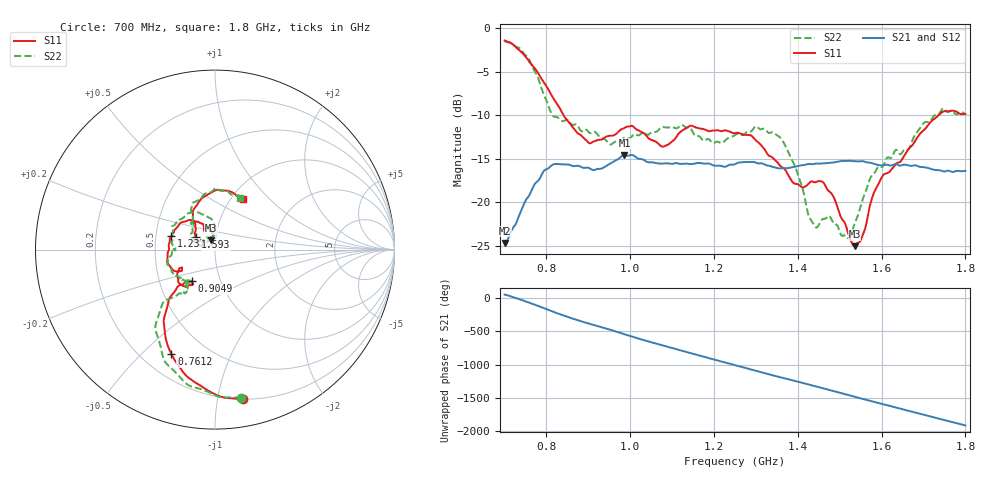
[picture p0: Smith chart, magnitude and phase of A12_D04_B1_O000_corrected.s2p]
! Created with skrf 1.9.0 (http://scikit-rf.org).
# Hz S RI R 50.0
!freq ReS11 ImS11 ReS21 ImS21 ReS12 ImS12 ReS22 ImS22
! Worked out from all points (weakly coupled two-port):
!   1601 points, 700 MHz to 1.8 GHz, reference 50 ohm
!   highest |S21| = -14.56 dB at 986 MHz (marker M1); lowest = -24.6 dB at 700.7 MHz (marker M2)
!   lowest |S11| = -25.0 dB at 1.535 GHz (marker M3), VSWR 1.12, Z = 47.7 + j4.96 ohm
!   |S11| at or under -10 dB: 840.5 MHz to 1.736 GHz (895.6 MHz wide, 69.5 % of centre)
!   |S22| runs from -24.1 to -1.5 dB; largest |S21 - S12| = 0.0034
!   S11 on the Smith chart (normalised r, x): 700 MHz: 0.20, -1.19; 761.2 MHz: 0.32, -0.62; 904.9 MHz: 0.73, -0.27; 1.237 GHz: 0.60, +0.10; 1.593 GHz: 0.80, +0.11; 1.8 GHz: 1.13, +0.71
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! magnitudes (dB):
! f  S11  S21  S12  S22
! 700 MHz  -1.4  -24.6  -24.4  -1.5
! 700.7 MHz  -1.4  -24.6  -24.3  -1.5
! 761.2 MHz  -4.0  -19.0  -18.9  -3.9
! 814.1 MHz  -7.9  -15.7  -15.7  -10.0
! 883.6 MHz  -12.4  -16.0  -15.9  -11.8
! 904.9 MHz  -13.2  -16.2  -16.1  -12.1
! 986 MHz  -11.5  -14.6  -14.7  -12.6
! 1.067 GHz  -13.3  -15.5  -15.5  -11.7
! 1.144 GHz  -11.2  -15.6  -15.6  -11.5
! 1.237 GHz  -11.9  -15.7  -15.8  -12.6
! 1.25 GHz  -12.1  -15.6  -15.5  -12.3
! 1.359 GHz  -15.9  -16.1  -16.1  -12.6
! 1.392 GHz  -17.8  -15.9  -15.9  -15.7
! 1.434 GHz  -17.6  -15.6  -15.6  -22.2
! 1.482 GHz  -19.1  -15.4  -15.4  -22.1
! 1.52 GHz  -23.4  -15.2  -15.2  -24.1
! 1.535 GHz  -25.0  -15.3  -15.3  -22.5
! 1.555 GHz  -23.8  -15.3  -15.3  -19.7
! 1.593 GHz  -17.8  -15.7  -15.7  -15.9
! 1.617 GHz  -16.6  -15.7  -15.7  -14.9
! 1.742 GHz  -9.7  -16.4  -16.3  -9.5
! 1.8 GHz  -9.9  -16.4  -16.4  -9.9
